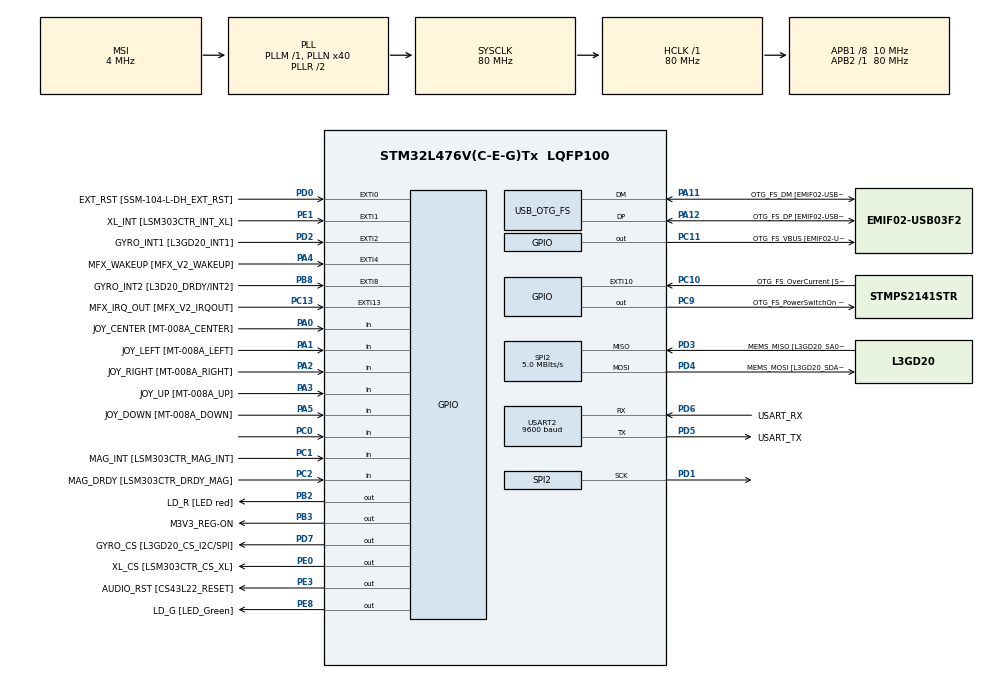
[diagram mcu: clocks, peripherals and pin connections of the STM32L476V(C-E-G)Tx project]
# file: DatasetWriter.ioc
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Mcu.Family=STM32L4
Mcu.Name=STM32L476V(C-E-G)Tx
Mcu.Package=LQFP100
NVIC.OTG_FS_IRQn=true\:0\:0\:false\:false\:true\:true\:true\:true
NVIC.PriorityGroup=NVIC_PRIORITYGROUP_4
PA0.GPIO_Label=JOY_CENTER [MT-008A_CENTER]
PA0.GPIO_Mode=GPIO_MODE_INPUT
PA0.GPIO_PuPd=GPIO_PULLDOWN
PA0.Signal=GPIO_Input
PA1.GPIO_Label=JOY_LEFT [MT-008A_LEFT]
PA1.GPIO_Mode=GPIO_MODE_INPUT
PA1.GPIO_PuPd=GPIO_PULLDOWN
PA1.Signal=GPIO_Input
PA10.Signal=LCD_COM2
PA11.GPIO_Label=OTG_FS_DM [EMIF02-USB03F2_D-out]
PA11.GPIO_Mode=GPIO_MODE_AF_PP
PA11.GPIO_PuPd=GPIO_NOPULL
PA11.GPIO_Speed=GPIO_SPEED_FREQ_VERY_HIGH
PA11.Mode=Host_Only
PA11.Signal=USB_OTG_FS_DM
PA12.GPIO_Label=OTG_FS_DP [EMIF02-USB03F2_D+out]
PA12.GPIO_Mode=GPIO_MODE_AF_PP
PA12.GPIO_PuPd=GPIO_NOPULL
PA12.GPIO_Speed=GPIO_SPEED_FREQ_VERY_HIGH
PA12.Mode=Host_Only
PA12.Signal=USB_OTG_FS_DP
PA13\ (JTMS-SWDIO).GPIO_Label=SWDIO
PA13\ (JTMS-SWDIO).Mode=Serial_Wire
PA13\ (JTMS-SWDIO).Signal=SYS_JTMS-SWDIO
PA14\ (JTCK-SWCLK).GPIO_Label=SWCLK
PA14\ (JTCK-SWCLK).Mode=Serial_Wire
PA14\ (JTCK-SWCLK).Signal=SYS_JTCK-SWCLK
PA15\ (JTDI).Signal=LCD_SEG17
PA2.GPIO_Label=JOY_RIGHT [MT-008A_RIGHT]
PA2.GPIO_Mode=GPIO_MODE_INPUT
PA2.GPIO_PuPd=GPIO_PULLDOWN
PA2.Signal=GPIO_Input
PA3.GPIO_Label=JOY_UP [MT-008A_UP]
PA3.GPIO_Mode=GPIO_MODE_INPUT
PA3.GPIO_PuPd=GPIO_PULLDOWN
PA3.Signal=GPIO_Input
PA4.GPIO_Label=MFX_WAKEUP [MFX_V2_WAKEUP]
PA4.GPIO_ModeDefaultEXTI=GPIO_MODE_EVT_RISING
PA4.GPIO_PuPd=GPIO_NOPULL
PA4.Signal=GPXTI4
PA5.GPIO_Label=JOY_DOWN [MT-008A_DOWN]
PA5.GPIO_Mode=GPIO_MODE_INPUT
PA5.GPIO_PuPd=GPIO_PULLDOWN
PA5.Signal=GPIO_Input
PA6.Signal=LCD_SEG3
PA7.Signal=LCD_SEG4
PA8.GPIO_Mode=GPIO_MODE_AF_PP
PA8.GPIO_PuPd=GPIO_NOPULL
PA8.GPIO_Speed=GPIO_SPEED_FREQ_LOW
PA8.Signal=LCD_COM0
PA9.GPIO_Mode=GPIO_MODE_AF_PP
PA9.GPIO_PuPd=GPIO_NOPULL
PA9.GPIO_Speed=GPIO_SPEED_FREQ_LOW
PA9.Signal=LCD_COM1
PB0.Signal=LCD_SEG5
PB1.Signal=LCD_SEG6
PB10.Signal=LCD_SEG10
PB11.Signal=LCD_SEG11
PB12.Signal=LCD_SEG12
PB13.Signal=LCD_SEG13
PB14.Signal=LCD_SEG14
PB15.Signal=LCD_SEG15
PB2.GPIO_Label=LD_R [LED red]
PB2.GPIO_ModeDefaultOutputPP=GPIO_MODE_OUTPUT_PP
PB2.GPIO_PuPd=GPIO_PULLUP
PB2.GPIO_Speed=GPIO_SPEED_FREQ_VERY_HIGH
PB2.Signal=GPIO_Output
PB3\ (JTDO-TRACESWO).GPIO_Label=M3V3_REG-ON
PB3\ (JTDO-TRACESWO).GPIO_ModeDefaultOutputPP=GPIO_MODE_OUTPUT_PP
PB3\ (JTDO-TRACESWO).GPIO_PuPd=GPIO_NOPULL
PB3\ (JTDO-TRACESWO).GPIO_Speed=GPIO_SPEED_FREQ_LOW
PB3\ (JTDO-TRACESWO).Signal=GPIO_Output
PB4\ (NJTRST).Signal=LCD_SEG8
PB5.Signal=LCD_SEG9
PB6.GPIO_FM6=__NULL
PB6.GPIO_Label=I2C1_SCL [SSM-104-L-DH_SCL]
PB6.GPIO_Mode=GPIO_MODE_AF_OD
PB6.GPIO_Pu=GPIO_PULLUP
PB6.GPIO_Speed=GPIO_SPEED_FREQ_VERY_HIGH
PB6.Signal=I2C1_SCL
PB7.Signal=LCD_SEG21
PB8.GPIO_Label=GYRO_INT2 [L3D20_DRDY/INT2]
PB8.GPIO_ModeDefaultEXTI=GPIO_MODE_EVT_RISING
PB8.GPIO_PuPd=GPIO_NOPULL
PB8.Signal=GPXTI8
PB9.Signal=LCD_COM3
PC0.Signal=GPIO_Input
PC1.GPIO_Label=MAG_INT [LSM303CTR_MAG_INT]
PC1.GPIO_Mode=GPIO_MODE_INPUT
PC1.GPIO_PuPd=GPIO_NOPULL
PC1.Signal=GPIO_Input
PC10.GPIO_Label=OTG_FS_OverCurrent [STMPS2141STR_FAULT]
PC10.GPIO_ModeDefaultEXTI=GPIO_MODE_EVT_RISING
PC10.GPIO_PuPd=GPIO_NOPULL
PC10.Signal=GPXTI10
PC11.GPIO_Label=OTG_FS_VBUS [EMIF02-USB03F2_Vbus]
PC11.GPIO_ModeDefaultOutputPP=GPIO_MODE_OUTPUT_PP
PC11.GPIO_PuPd=GPIO_NOPULL
PC11.GPIO_Speed=GPIO_SPEED_FREQ_LOW
PC11.Signal=GPIO_Output
PC12.Signal=LCD_SEG30
PC13.GPIO_Label=MFX_IRQ_OUT [MFX_V2_IRQOUT]
PC13.GPIO_ModeDefaultEXTI=GPIO_MODE_EVT_RISING
PC13.GPIO_PuPd=GPIO_NOPULL
PC13.Signal=GPXTI13
PC14-OSC32_IN\ (PC14).Mode=LSE-External-Oscillator
PC14-OSC32_IN\ (PC14).Signal=RCC_OSC32_IN
PC15-OSC32_OUT\ (PC15).Mode=LSE-External-Oscillator
PC15-OSC32_OUT\ (PC15).Signal=RCC_OSC32_OUT
PC2.GPIO_Label=MAG_DRDY [LSM303CTR_DRDY_MAG]
PC2.GPIO_Mode=GPIO_MODE_INPUT
PC2.GPIO_PuPd=GPIO_NOPULL
PC2.Signal=GPIO_Input
PC3.GPIO_Mode=GPIO_MODE_AF_PP
PC3.GPIO_PuPd=GPIO_NOPULL
PC3.GPIO_Speed=GPIO_SPEED_FREQ_LOW
PC3.Signal=LCD_VLCD
PC4.Signal=LCD_SEG22
PC5.Signal=LCD_SEG23
PC6.Signal=LCD_SEG24
PC7.Signal=LCD_SEG25
PC8.Signal=LCD_SEG26
PC9.GPIO_Label=OTG_FS_PowerSwitchOn [STMPS2141STR_EN]
PC9.GPIO_ModeDefaultOutputPP=GPIO_MODE_OUTPUT_PP
PC9.GPIO_PuPd=GPIO_NOPULL
PC9.GPIO_Speed=GPIO_SPEED_FREQ_LOW
PC9.PinState=GPIO_PIN_SET
PC9.Signal=GPIO_Output
PD0.GPIO_Label=EXT_RST [SSM-104-L-DH_EXT_RST]
PD0.GPIO_ModeDefaultEXTI=GPIO_MODE_EVT_RISING
PD0.GPIO_PuPd=GPIO_NOPULL
PD0.Signal=GPXTI0
PD1.Mode=Full_Duplex_Master
PD1.Signal=SPI2_SCK
PD11.Signal=LCD_SEG31
PD12.Signal=LCD_SEG32
PD13.Signal=LCD_SEG33
PD14.Signal=LCD_SEG34
PD15.Signal=LCD_SEG35
PD2.GPIO_Label=GYRO_INT1 [L3GD20_INT1]
PD2.GPIO_ModeDefaultEXTI=GPIO_MODE_EVT_RISING
PD2.GPIO_PuPd=GPIO_NOPULL
PD2.Signal=GPXTI2
PD3.GPIO_Label=MEMS_MISO [L3GD20_SA0/SDO]
PD3.GPIO_Mode=GPIO_MODE_AF_PP
PD3.GPIO_PuPd=GPIO_NOPULL
PD3.GPIO_Speed=GPIO_SPEED_FREQ_VERY_HIGH
PD3.Mode=Full_Duplex_Master
PD3.Signal=SPI2_MISO
PD4.GPIO_Label=MEMS_MOSI [L3GD20_SDA/SDI/SDO]
PD4.GPIO_Mode=GPIO_MODE_AF_PP
PD4.GPIO_PuPd=GPIO_NOPULL
PD4.GPIO_Speed=GPIO_SPEED_FREQ_VERY_HIGH
PD4.Mode=Full_Duplex_Master
PD4.Signal=SPI2_MOSI
PD5.GPIO_Label=USART_TX
PD5.GPIO_Mode=GPIO_MODE_AF_PP
PD5.GPIO_PuPd=GPIO_PULLUP
PD5.GPIO_Speed=GPIO_SPEED_FREQ_VERY_HIGH
PD5.Mode=Asynchronous
PD5.Signal=USART2_TX
PD6.GPIO_Label=USART_RX
PD6.GPIO_Mode=GPIO_MODE_AF_PP
PD6.GPIO_PuPd=GPIO_PULLUP
PD6.GPIO_Speed=GPIO_SPEED_FREQ_VERY_HIGH
PD6.Mode=Asynchronous
PD6.Signal=USART2_RX
PD7.GPIO_Label=GYRO_CS [L3GD20_CS_I2C/SPI]
PD7.GPIO_ModeDefaultOutputPP=GPIO_MODE_OUTPUT_PP
PD7.GPIO_PuPd=GPIO_NOPULL
PD7.GPIO_Speed=GPIO_SPEED_FREQ_VERY_HIGH
PD7.Signal=GPIO_Output
PD8.Signal=LCD_SEG28
PD9.Signal=LCD_SEG29
PE0.GPIO_Label=XL_CS [LSM303CTR_CS_XL]
PE0.GPIO_ModeDefaultOutputPP=GPIO_MODE_OUTPUT_PP
PE0.GPIO_PuPd=GPIO_NOPULL
PE0.GPIO_Speed=GPIO_SPEED_FREQ_LOW
PE0.Signal=GPIO_Output
PE1.GPIO_Label=XL_INT [LSM303CTR_INT_XL]
PE1.GPIO_ModeDefaultEXTI=GPIO_MODE_EVT_RISING
PE1.GPIO_PuPd=GPIO_NOPULL
PE1.Signal=GPXTI1
PE10.GPIO_Mode=GPIO_MODE_AF_PP
PE10.GPIO_PuPd=GPIO_NOPULL
PE10.GPIO_Speed=GPIO_SPEED_FREQ_VERY_HIGH
PE10.Signal=QUADSPI_CLK
PE11.GPIO_Mode=GPIO_MODE_AF_PP
PE11.GPIO_PuPd=GPIO_NOPULL
PE11.GPIO_Speed=GPIO_SPEED_FREQ_VERY_HIGH
PE11.Signal=QUADSPI_NCS
PE12.GPIO_Mode=GPIO_MODE_AF_PP
PE12.GPIO_PuPd=GPIO_NOPULL
PE12.GPIO_Speed=GPIO_SPEED_FREQ_VERY_HIGH
PE12.Signal=QUADSPI_BK1_IO0
PE13.GPIO_Mode=GPIO_MODE_AF_PP
PE13.GPIO_PuPd=GPIO_NOPULL
PE13.GPIO_Speed=GPIO_SPEED_FREQ_VERY_HIGH
PE13.Signal=QUADSPI_BK1_IO1
PE14.GPIO_Label=QSPI_D2 [N25Q128A13EF840E_DQ2]
PE14.GPIO_Mode=GPIO_MODE_AF_PP
PE14.GPIO_PuPd=GPIO_NOPULL
PE14.GPIO_Speed=GPIO_SPEED_FREQ_VERY_HIGH
PE14.Signal=QUADSPI_BK1_IO2
PE15.GPIO_Label=QSPI_D3 [N25Q128A13EF840E_DQ3]
PE15.GPIO_Mode=GPIO_MODE_AF_PP
PE15.GPIO_PuPd=GPIO_NOPULL
PE15.GPIO_Speed=GPIO_SPEED_FREQ_VERY_HIGH
PE15.Signal=QUADSPI_BK1_IO3
PE2.Signal=LCD_SEG38
PE3.GPIO_Label=AUDIO_RST [CS43L22_RESET]
PE3.GPIO_ModeDefaultOutputPP=GPIO_MODE_OUTPUT_PP
PE3.GPIO_PuPd=GPIO_NOPULL
PE3.GPIO_Speed=GPIO_SPEED_FREQ_HIGH
PE3.Signal=GPIO_Output
PE4.GPIO_Label=SAI1_FS [CS43L22_LRCK]
PE4.GPIO_Mode=GPIO_MODE_AF_PP
PE4.GPIO_PuPd=GPIO_NOPULL
PE4.GPIO_Speed=GPIO_SPEED_FREQ_VERY_HIGH
PE4.Signal=SAI1_FS_A
PE5.GPIO_Label=SAI1_SCK [CS43L22_SCLK]
PE5.GPIO_Mode=GPIO_MODE_AF_PP
PE5.GPIO_PuPd=GPIO_NOPULL
PE5.GPIO_Speed=GPIO_SPEED_FREQ_VERY_HIGH
PE5.Signal=SAI1_SCK_A
PE6.GPIO_Label=SAI1_SD [CS43L22_SDIN]
PE6.GPIO_Mode=GPIO_MODE_AF_PP
PE6.GPIO_PuPd=GPIO_NOPULL
PE6.GPIO_Speed=GPIO_SPEED_FREQ_VERY_HIGH
PE6.Signal=SAI1_SD_A
PE7.GPIO_Label=AUDIO_DIN [MP34DT01_DOUT]
PE7.GPIO_Mode=GPIO_MODE_AF_PP
PE7.GPIO_PuPd=GPIO_NOPULL
PE7.GPIO_Speed=GPIO_SPEED_FREQ_VERY_HIGH
PE7.Signal=SAI1_SD_B
PE8.GPIO_Label=LD_G [LED_Green]
PE8.GPIO_ModeDefaultOutputPP=GPIO_MODE_OUTPUT_PP
PE8.GPIO_PuPd=GPIO_PULLUP
PE8.GPIO_Speed=GPIO_SPEED_FREQ_VERY_HIGH
PE8.Signal=GPIO_Output
PE9.GPIO_Label=AUDIO_CLK [MP34DT01_CLK]
PE9.GPIO_Mode=GPIO_MODE_AF_PP
PE9.GPIO_PuPd=GPIO_NOPULL
PE9.GPIO_Speed=GPIO_SPEED_FREQ_LOW
PE9.Signal=SAI1_FS_B
PH0-OSC_IN\ (PH0).Mode=HSE-External-Oscillator
PH0-OSC_IN\ (PH0).Signal=RCC_OSC_IN
PH1-OSC_OUT\ (PH1).Mode=HSE-External-Oscillator
PH1-OSC_OUT\ (PH1).Signal=RCC_OSC_OUT
ProjectManager.HeapSize=0x800
ProjectManager.StackSize=0x1000
ProjectManager.TargetToolchain=STM32CubeIDE
RCC.ADCFreq_Value=48000000
RCC.AHBFreq_Value=80000000
RCC.APB1CLKDivider=RCC_HCLK_DIV8
RCC.APB1Freq_Value=10000000
RCC.APB1TimFreq_Value=20000000
RCC.APB2Freq_Value=80000000
RCC.APB2TimFreq_Value=80000000
RCC.CortexFreq_Value=80000000
RCC.HCLKFreq_Value=80000000
RCC.HSE_VALUE=8000000
RCC.HSI_VALUE=16000000
RCC.MSI_VALUE=4000000
RCC.PLLN=40
RCC.PLLSAI1N=24
RCC.PREFETCH_ENABLE=1
RCC.RTCClockSelection=RCC_RTCCLKSOURCE_LSE
RCC.SYSCLKFreq_VALUE=80000000
RCC.SYSCLKSource=RCC_SYSCLKSOURCE_PLLCLK
RCC.USART2CLockSelection=RCC_USART2CLKSOURCE_SYSCLK
RCC.USBFreq_Value=48000000
RCC.VCOOutputFreq_Value=160000000
SPI2.BaudRatePrescaler=SPI_BAUDRATEPRESCALER_2
SPI2.CalculateBaudRate=5.0 MBits/s
SPI2.Direction=SPI_DIRECTION_2LINES
SPI2.Mode=SPI_MODE_MASTER
SPI2.VirtualType=VM_MASTER
STMicroelectronics.X-CUBE-AI.7.1.0.ActivationBufferSizeList=44
STMicroelectronics.X-CUBE-AI.7.1.0.ActivationBuffers=pool0
STMicroelectronics.X-CUBE-AI.7.1.0.ActivationNames=pool0
STMicroelectronics.X-CUBE-AI.7.1.0.ActivationSizes=AI_NETWORK_DATA_ACTIVATION_1_SIZE
STMicroelectronics.X-CUBE-AI.7.1.0.HeapSize=0x800
STMicroelectronics.X-CUBE-AI.7.1.0.InternalRamActivationBufferMaxSize=AI_NETWORK_DATA_ACTIVATIONS_SIZE
STMicroelectronics.X-CUBE-AI.7.1.0.LatestDirectoryUsed-5fd90cdd253ec951de578391504b666c0e46cd835d5aafb4f89f38390d5d8160=C\:\\Archivio\\Lavoro\\MBDA\\Hums\\tinyml-example-anomaly-detection-master\\autoencoder\\models
STMicroelectronics.X-CUBE-AI.7.1.0.MaximumNumberOfInputLayer=1
STMicroelectronics.X-CUBE-AI.7.1.0.MaximumNumberOfOutputLayer=1
STMicroelectronics.X-CUBE-AI.7.1.0.MaximumSizeOfInputLayer=AI_NETWORK_IN_1_SIZE_BYTES
STMicroelectronics.X-CUBE-AI.7.1.0.MaximumSizeOfOutputLayer=AI_NETWORK_OUT_1_SIZE_BYTES
STMicroelectronics.X-CUBE-AI.7.1.0.ModelActualCompression-5fd90cdd253ec951de578391504b666c0e46cd835d5aafb4f89f38390d5d8160=0.0
STMicroelectronics.X-CUBE-AI.7.1.0.ModelCompression-5fd90cdd253ec951de578391504b666c0e46cd835d5aafb4f89f38390d5d8160=1
STMicroelectronics.X-CUBE-AI.7.1.0.ModelFlashOccupation-5fd90cdd253ec951de578391504b666c0e46cd835d5aafb4f89f38390d5d8160=68
STMicroelectronics.X-CUBE-AI.7.1.0.ModelHashList=5fd90cdd253ec951de578391504b666c0e46cd835d5aafb4f89f38390d5d8160
STMicroelectronics.X-CUBE-AI.7.1.0.ModelKind-5fd90cdd253ec951de578391504b666c0e46cd835d5aafb4f89f38390d5d8160=TFLITE
STMicroelectronics.X-CUBE-AI.7.1.0.ModelMacc-5fd90cdd253ec951de578391504b666c0e46cd835d5aafb4f89f38390d5d8160=22
STMicroelectronics.X-CUBE-AI.7.1.0.ModelName-5fd90cdd253ec951de578391504b666c0e46cd835d5aafb4f89f38390d5d8160=network
STMicroelectronics.X-CUBE-AI.7.1.0.ModelNameList=network
STMicroelectronics.X-CUBE-AI.7.1.0.ModelRamOccupation-5fd90cdd253ec951de578391504b666c0e46cd835d5aafb4f89f38390d5d8160=44
STMicroelectronics.X-CUBE-AI.7.1.0.ModelStructureFile-5fd90cdd253ec951de578391504b666c0e46cd835d5aafb4f89f38390d5d8160=C\:\\Archivio\\Lavoro\\MBDA\\Hums\\tinyml-example-anomaly-detection-master\\autoencoder\\models\\my_model.tflite
STMicroelectronics.X-CUBE-AI.7.1.0.ModelType-5fd90cdd253ec951de578391504b666c0e46cd835d5aafb4f89f38390d5d8160=STM32Cube.AI runtime
STMicroelectronics.X-CUBE-AI.7.1.0.ReadyForCodeGeneration=false
STMicroelectronics.X-CUBE-AI.7.1.0.StackSize=0x1000
STMicroelectronics.X-CUBE-AI.7.1.0.WorkingBufferStartAddrList=0xFFFFFFFF
TIM16.Period=65535
TIM16.Prescaler=80
USART2.BaudRate=9600
USART2.VirtualMode-Asynchronous=VM_ASYNC
USB_HOST.BSP.number=1
USB_HOST.USBH_HandleTypeDef=hUsbHostFS
USB_HOST.VirtualModeFS=Cdc
USB_HOST0.BSP.STBoard=false
USB_HOST0.BSP.api=Unknown
USB_HOST0.BSP.instance=PC9
USB_HOST0.BSP.ip=GPIO
USB_HOST0.BSP.mode=Output
USB_HOST0.BSP.name=Drive_VBUS_FS
USB_HOST0.BSP.solution=PC9
USB_OTG_FS.VirtualMode=Host_Only
USB_OTG_FS.phy_itface=HCD_PHY_EMBEDDED
VP_CRC_VS_CRC.Mode=CRC_Activate
VP_TIM16_VS_ClockSourceINT.Mode=Enable_Timer
VP_USB_HOST_VS_USB_HOST_CDC_FS.Mode=CDC_FS
board=STM32L476G-DISCO

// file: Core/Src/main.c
/* USER CODE BEGIN Header */
/**
 ******************************************************************************
 * @file           : main.c
 * @brief          : Main program body
 ******************************************************************************
 * @attention
 *
 * Copyright (c) 2022 STMicroelectronics.
 * All rights reserved.
 *
 * This software is licensed under terms that can be found in the LICENSE file
 * in the root directory of this software component.
 * If no LICENSE file comes with this software, it is provided AS-IS.
 *
 ******************************************************************************
 */
/* USER CODE END Header */
#include "main.h"
#include "usb_host.h"

/* USER CODE BEGIN Includes */
#include <stdio.h>
#include "../../../Drivers/BSP/Components/lsm303c/lsm303c.h"
/* USER CODE END Includes */

CRC_HandleTypeDef hcrc;

SPI_HandleTypeDef hspi2;

TIM_HandleTypeDef htim16;

UART_HandleTypeDef huart2;

void SystemClock_Config(void);
static void MX_GPIO_Init(void);
static void MX_SPI2_Init(void);
static void MX_USART2_UART_Init(void);
static void MX_CRC_Init(void);
static void MX_TIM16_Init(void);
void MX_USB_HOST_Process(void);

/* USER CODE BEGIN 0 */
typedef enum {
	COMPASS_OK = 0, COMPASS_ERROR = 1, COMPASS_TIMEOUT = 2
} COMPASS_StatusTypeDef;

extern void BSP_COMPASS_AccGetXYZ(int16_t *pDataXYZ);
extern COMPASS_StatusTypeDef BSP_COMPASS_Init(void);
/* USER CODE END 0 */

int main(void)
{
  /* USER CODE BEGIN 1 */

	// Settings
	int NUM_AXES = 3;           // Number of axes on accelerometer
	int MAX_MEASUREMENTS = 256; // Number of samples to keep in each axis
	int SAMPLE_RATE = 200;      // How fast to collect measurements (Hz)

	float sample[MAX_MEASUREMENTS][NUM_AXES];

	char buf[50];
	int buf_len = 0;
	uint32_t timestamp;
	int16_t pDataXYZ[3];
  /* USER CODE END 1 */

  /* MCU Configuration--------------------------------------------------------*/

  /* Reset of all peripherals, Initializes the Flash interface and the Systick. */
  HAL_Init();

  /* Configure the system clock */
  SystemClock_Config();

  /* Initialize all configured peripherals */
  MX_GPIO_Init();
  MX_SPI2_Init();
  MX_USART2_UART_Init();
  MX_USB_HOST_Init();
  MX_CRC_Init();
  MX_TIM16_Init();
  /* USER CODE BEGIN 2 */

	BSP_COMPASS_Init();

	// Welcome
	timestamp = htim16.Instance->CNT;

	HAL_GPIO_WritePin(GPIOB, GPIO_PIN_2, GPIO_PIN_SET);
	HAL_Delay(500);
	HAL_GPIO_WritePin(GPIOB, GPIO_PIN_2, GPIO_PIN_RESET);

	HAL_TIM_Base_Start(&htim16);
	buf_len = sprintf(buf, "\r\n\r\nSTM write dataset v1.0\r\n");
	HAL_UART_Transmit(&huart2, (uint8_t*) buf, buf_len, 100);

  /* USER CODE END 2 */

  /* Infinite loop */
  /* USER CODE BEGIN WHILE */
	while (1) {
		HAL_GPIO_WritePin(GPIOE, GPIO_PIN_8, GPIO_PIN_SET);
		HAL_Delay(250);
		HAL_GPIO_WritePin(GPIOE, GPIO_PIN_8, GPIO_PIN_RESET);
		HAL_Delay(250);

		// Take a given time worth of measurements
		int i = 0;
		while (i < MAX_MEASUREMENTS) {
			if (htim16.Instance->CNT >= timestamp + (1000 / SAMPLE_RATE)) {

				// Update timestamps to maintain sample rate
				timestamp = htim16.Instance->CNT;

				// Take sample measurement
				BSP_COMPASS_AccGetXYZ(pDataXYZ);
				sample[i][0] = (double) pDataXYZ[0] * 0.000061;
				sample[i][1] = (double) pDataXYZ[1] * 0.000061;
				sample[i][2] = (double) pDataXYZ[2] * 0.000061;

				buf_len = sprintf(buf, "%f; %f; %f;\r\n", sample[i][0],
						sample[i][1], sample[i][2]);
				HAL_UART_Transmit(&huart2, (uint8_t*) buf, buf_len, 100);

				// Update sample counter
				i++;
			}
		}

		buf_len = sprintf(buf, "End trasmission");
		HAL_UART_Transmit(&huart2, (uint8_t*) buf, buf_len, 100);

		while (1) {
			HAL_GPIO_WritePin(GPIOE, GPIO_PIN_8, GPIO_PIN_SET);
			HAL_GPIO_WritePin(GPIOB, GPIO_PIN_2, GPIO_PIN_RESET);
			HAL_Delay(250);
			HAL_GPIO_WritePin(GPIOB, GPIO_PIN_2, GPIO_PIN_SET);
			HAL_GPIO_WritePin(GPIOE, GPIO_PIN_8, GPIO_PIN_RESET);
			HAL_Delay(250);
		}

    /* USER CODE END WHILE */
    MX_USB_HOST_Process();

	}
}

void SystemClock_Config(void)
{
  RCC_OscInitTypeDef RCC_OscInitStruct = {0};
  RCC_ClkInitTypeDef RCC_ClkInitStruct = {0};

  /** Configure the main internal regulator output voltage
  */
  if (HAL_PWREx_ControlVoltageScaling(PWR_REGULATOR_VOLTAGE_SCALE1) != HAL_OK)
  {
    Error_Handler();
  }

  /** Configure LSE Drive Capability
  */
  HAL_PWR_EnableBkUpAccess();
  __HAL_RCC_LSEDRIVE_CONFIG(RCC_LSEDRIVE_LOW);

  /** Initializes the RCC Oscillators according to the specified parameters
  * in the RCC_OscInitTypeDef structure.
  */
  RCC_OscInitStruct.OscillatorType = RCC_OSCILLATORTYPE_LSE|RCC_OSCILLATORTYPE_MSI;
  RCC_OscInitStruct.LSEState = RCC_LSE_ON;
  RCC_OscInitStruct.MSIState = RCC_MSI_ON;
  RCC_OscInitStruct.MSICalibrationValue = 0;
  RCC_OscInitStruct.MSIClockRange = RCC_MSIRANGE_6;
  RCC_OscInitStruct.PLL.PLLState = RCC_PLL_ON;
  RCC_OscInitStruct.PLL.PLLSource = RCC_PLLSOURCE_MSI;
  RCC_OscInitStruct.PLL.PLLM = 1;
  RCC_OscInitStruct.PLL.PLLN = 40;
  RCC_OscInitStruct.PLL.PLLP = RCC_PLLP_DIV7;
  RCC_OscInitStruct.PLL.PLLQ = RCC_PLLQ_DIV2;
  RCC_OscInitStruct.PLL.PLLR = RCC_PLLR_DIV2;
  if (HAL_RCC_OscConfig(&RCC_OscInitStruct) != HAL_OK)
  {
    Error_Handler();
  }

  /** Initializes the CPU, AHB and APB buses clocks
  */
  RCC_ClkInitStruct.ClockType = RCC_CLOCKTYPE_HCLK|RCC_CLOCKTYPE_SYSCLK
                              |RCC_CLOCKTYPE_PCLK1|RCC_CLOCKTYPE_PCLK2;
  RCC_ClkInitStruct.SYSCLKSource = RCC_SYSCLKSOURCE_PLLCLK;
  RCC_ClkInitStruct.AHBCLKDivider = RCC_SYSCLK_DIV1;
  RCC_ClkInitStruct.APB1CLKDivider = RCC_HCLK_DIV8;
  RCC_ClkInitStruct.APB2CLKDivider = RCC_HCLK_DIV1;

  if (HAL_RCC_ClockConfig(&RCC_ClkInitStruct, FLASH_LATENCY_4) != HAL_OK)
  {
    Error_Handler();
  }

  /** Enable MSI Auto calibration
  */
  HAL_RCCEx_EnableMSIPLLMode();
}

static void MX_CRC_Init(void)
{

  hcrc.Instance = CRC;
  hcrc.Init.DefaultPolynomialUse = DEFAULT_POLYNOMIAL_ENABLE;
  hcrc.Init.DefaultInitValueUse = DEFAULT_INIT_VALUE_ENABLE;
  hcrc.Init.InputDataInversionMode = CRC_INPUTDATA_INVERSION_NONE;
  hcrc.Init.OutputDataInversionMode = CRC_OUTPUTDATA_INVERSION_DISABLE;
  hcrc.InputDataFormat = CRC_INPUTDATA_FORMAT_BYTES;
  if (HAL_CRC_Init(&hcrc) != HAL_OK)
  {
    Error_Handler();
  }

}

static void MX_SPI2_Init(void)
{

  /* SPI2 parameter configuration*/
  hspi2.Instance = SPI2;
  hspi2.Init.Mode = SPI_MODE_MASTER;
  hspi2.Init.Direction = SPI_DIRECTION_2LINES;
  hspi2.Init.DataSize = SPI_DATASIZE_4BIT;
  hspi2.Init.CLKPolarity = SPI_POLARITY_LOW;
  hspi2.Init.CLKPhase = SPI_PHASE_1EDGE;
  hspi2.Init.NSS = SPI_NSS_SOFT;
  hspi2.Init.BaudRatePrescaler = SPI_BAUDRATEPRESCALER_2;
  hspi2.Init.FirstBit = SPI_FIRSTBIT_MSB;
  hspi2.Init.TIMode = SPI_TIMODE_DISABLE;
  hspi2.Init.CRCCalculation = SPI_CRCCALCULATION_DISABLE;
  hspi2.Init.CRCPolynomial = 7;
  hspi2.Init.CRCLength = SPI_CRC_LENGTH_DATASIZE;
  hspi2.Init.NSSPMode = SPI_NSS_PULSE_ENABLE;
  if (HAL_SPI_Init(&hspi2) != HAL_OK)
  {
    Error_Handler();
  }

}

static void MX_TIM16_Init(void)
{

  htim16.Instance = TIM16;
  htim16.Init.Prescaler = 80;
  htim16.Init.CounterMode = TIM_COUNTERMODE_UP;
  htim16.Init.Period = 65535;
  htim16.Init.ClockDivision = TIM_CLOCKDIVISION_DIV1;
  htim16.Init.RepetitionCounter = 0;
  htim16.Init.AutoReloadPreload = TIM_AUTORELOAD_PRELOAD_DISABLE;
  if (HAL_TIM_Base_Init(&htim16) != HAL_OK)
  {
    Error_Handler();
  }

}

static void MX_USART2_UART_Init(void)
{

  huart2.Instance = USART2;
  huart2.Init.BaudRate = 9600;
  huart2.Init.WordLength = UART_WORDLENGTH_8B;
  huart2.Init.StopBits = UART_STOPBITS_1;
  huart2.Init.Parity = UART_PARITY_NONE;
  huart2.Init.Mode = UART_MODE_TX_RX;
  huart2.Init.HwFlowCtl = UART_HWCONTROL_NONE;
  huart2.Init.OverSampling = UART_OVERSAMPLING_16;
  huart2.Init.OneBitSampling = UART_ONE_BIT_SAMPLE_DISABLE;
  huart2.AdvancedInit.AdvFeatureInit = UART_ADVFEATURE_NO_INIT;
  if (HAL_UART_Init(&huart2) != HAL_OK)
  {
    Error_Handler();
  }

}

static void MX_GPIO_Init(void)
{
  GPIO_InitTypeDef GPIO_InitStruct = {0};

  /* GPIO Ports Clock Enable */
  __HAL_RCC_GPIOE_CLK_ENABLE();
  __HAL_RCC_GPIOC_CLK_ENABLE();
  __HAL_RCC_GPIOH_CLK_ENABLE();
  __HAL_RCC_GPIOA_CLK_ENABLE();
  __HAL_RCC_GPIOB_CLK_ENABLE();
  __HAL_RCC_GPIOD_CLK_ENABLE();

  /*Configure GPIO pin Output Level */
  HAL_GPIO_WritePin(GPIOE, AUDIO_RST_Pin|LD_G_Pin|XL_CS_Pin, GPIO_PIN_RESET);

  /*Configure GPIO pin Output Level */
  HAL_GPIO_WritePin(GPIOB, LD_R_Pin|M3V3_REG_ON_Pin, GPIO_PIN_RESET);

  /*Configure GPIO pin Output Level */
  HAL_GPIO_WritePin(OTG_FS_PowerSwitchOn_GPIO_Port, OTG_FS_PowerSwitchOn_Pin, GPIO_PIN_SET);

  /*Configure GPIO pin Output Level */
  HAL_GPIO_WritePin(OTG_FS_VBUS_GPIO_Port, OTG_FS_VBUS_Pin, GPIO_PIN_RESET);

  /*Configure GPIO pin Output Level */
  HAL_GPIO_WritePin(GYRO_CS_GPIO_Port, GYRO_CS_Pin, GPIO_PIN_RESET);

  /*Configure GPIO pin : PE2 */
  GPIO_InitStruct.Pin = GPIO_PIN_2;
  GPIO_InitStruct.Mode = GPIO_MODE_AF_PP;
  GPIO_InitStruct.Pull = GPIO_NOPULL;
  GPIO_InitStruct.Speed = GPIO_SPEED_FREQ_LOW;
  GPIO_InitStruct.Alternate = GPIO_AF11_LCD;
  HAL_GPIO_Init(GPIOE, &GPIO_InitStruct);

  /*Configure GPIO pin : AUDIO_RST_Pin */
  GPIO_InitStruct.Pin = AUDIO_RST_Pin;
  GPIO_InitStruct.Mode = GPIO_MODE_OUTPUT_PP;
  GPIO_InitStruct.Pull = GPIO_NOPULL;
  GPIO_InitStruct.Speed = GPIO_SPEED_FREQ_HIGH;
  HAL_GPIO_Init(AUDIO_RST_GPIO_Port, &GPIO_InitStruct);

  /*Configure GPIO pins : SAI1_FS_Pin SAI1_SCK_Pin SAI1_SD_Pin AUDIO_DIN_Pin */
  GPIO_InitStruct.Pin = SAI1_FS_Pin|SAI1_SCK_Pin|SAI1_SD_Pin|AUDIO_DIN_Pin;
  GPIO_InitStruct.Mode = GPIO_MODE_AF_PP;
  GPIO_InitStruct.Pull = GPIO_NOPULL;
  GPIO_InitStruct.Speed = GPIO_SPEED_FREQ_VERY_HIGH;
  GPIO_InitStruct.Alternate = GPIO_AF13_SAI1;
  HAL_GPIO_Init(GPIOE, &GPIO_InitStruct);

  /*Configure GPIO pins : MFX_IRQ_OUT_Pin OTG_FS_OverCurrent_Pin */
  GPIO_InitStruct.Pin = MFX_IRQ_OUT_Pin|OTG_FS_OverCurrent_Pin;
  GPIO_InitStruct.Mode = GPIO_MODE_EVT_RISING;
  GPIO_InitStruct.Pull = GPIO_NOPULL;
  HAL_GPIO_Init(GPIOC, &GPIO_InitStruct);

  /*Configure GPIO pins : PC0 MAG_INT_Pin MAG_DRDY_Pin */
  GPIO_InitStruct.Pin = GPIO_PIN_0|MAG_INT_Pin|MAG_DRDY_Pin;
  GPIO_InitStruct.Mode = GPIO_MODE_INPUT;
  GPIO_InitStruct.Pull = GPIO_NOPULL;
  HAL_GPIO_Init(GPIOC, &GPIO_InitStruct);

  /*Configure GPIO pins : PC3 PC4 PC5 PC6
                           PC7 PC8 PC12 */
  GPIO_InitStruct.Pin = GPIO_PIN_3|GPIO_PIN_4|GPIO_PIN_5|GPIO_PIN_6
                          |GPIO_PIN_7|GPIO_PIN_8|GPIO_PIN_12;
  GPIO_InitStruct.Mode = GPIO_MODE_AF_PP;
  GPIO_InitStruct.Pull = GPIO_NOPULL;
  GPIO_InitStruct.Speed = GPIO_SPEED_FREQ_LOW;
  GPIO_InitStruct.Alternate = GPIO_AF11_LCD;
  HAL_GPIO_Init(GPIOC, &GPIO_InitStruct);

  /*Configure GPIO pins : JOY_CENTER_Pin JOY_LEFT_Pin JOY_RIGHT_Pin JOY_UP_Pin
                           JOY_DOWN_Pin */
  GPIO_InitStruct.Pin = JOY_CENTER_Pin|JOY_LEFT_Pin|JOY_RIGHT_Pin|JOY_UP_Pin
                          |JOY_DOWN_Pin;
  GPIO_InitStruct.Mode = GPIO_MODE_INPUT;
  GPIO_InitStruct.Pull = GPIO_PULLDOWN;
  HAL_GPIO_Init(GPIOA, &GPIO_InitStruct);

  /*Configure GPIO pin : MFX_WAKEUP_Pin */
  GPIO_InitStruct.Pin = MFX_WAKEUP_Pin;
  GPIO_InitStruct.Mode = GPIO_MODE_EVT_RISING;
  GPIO_InitStruct.Pull = GPIO_NOPULL;
  HAL_GPIO_Init(MFX_WAKEUP_GPIO_Port, &GPIO_InitStruct);

  /*Configure GPIO pins : PA6 PA7 PA8 PA9
                           PA10 PA15 */
  GPIO_InitStruct.Pin = GPIO_PIN_6|GPIO_PIN_7|GPIO_PIN_8|GPIO_PIN_9
                          |GPIO_PIN_10|GPIO_PIN_15;
  GPIO_InitStruct.Mode = GPIO_MODE_AF_PP;
  GPIO_InitStruct.Pull = GPIO_NOPULL;
  GPIO_InitStruct.Speed = GPIO_SPEED_FREQ_LOW;
  GPIO_InitStruct.Alternate = GPIO_AF11_LCD;
  HAL_GPIO_Init(GPIOA, &GPIO_InitStruct);

  /*Configure GPIO pins : PB0 PB1 PB10 PB11
                           PB12 PB13 PB14 PB15
                           PB4 PB5 PB7 PB9 */
  GPIO_InitStruct.Pin = GPIO_PIN_0|GPIO_PIN_1|GPIO_PIN_10|GPIO_PIN_11
                          |GPIO_PIN_12|GPIO_PIN_13|GPIO_PIN_14|GPIO_PIN_15
                          |GPIO_PIN_4|GPIO_PIN_5|GPIO_PIN_7|GPIO_PIN_9;
  GPIO_InitStruct.Mode = GPIO_MODE_AF_PP;
  GPIO_InitStruct.Pull = GPIO_NOPULL;
  GPIO_InitStruct.Speed = GPIO_SPEED_FREQ_LOW;
  GPIO_InitStruct.Alternate = GPIO_AF11_LCD;
  HAL_GPIO_Init(GPIOB, &GPIO_InitStruct);

  /*Configure GPIO pin : LD_R_Pin */
  GPIO_InitStruct.Pin = LD_R_Pin;
  GPIO_InitStruct.Mode = GPIO_MODE_OUTPUT_PP;
  GPIO_InitStruct.Pull = GPIO_PULLUP;
  GPIO_InitStruct.Speed = GPIO_SPEED_FREQ_VERY_HIGH;
  HAL_GPIO_Init(LD_R_GPIO_Port, &GPIO_InitStruct);

  /*Configure GPIO pin : LD_G_Pin */
  GPIO_InitStruct.Pin = LD_G_Pin;
  GPIO_InitStruct.Mode = GPIO_MODE_OUTPUT_PP;
  GPIO_InitStruct.Pull = GPIO_PULLUP;
  GPIO_InitStruct.Speed = GPIO_SPEED_FREQ_VERY_HIGH;
  HAL_GPIO_Init(LD_G_GPIO_Port, &GPIO_InitStruct);

  /*Configure GPIO pin : AUDIO_CLK_Pin */
  GPIO_InitStruct.Pin = AUDIO_CLK_Pin;
  GPIO_InitStruct.Mode = GPIO_MODE_AF_PP;
  GPIO_InitStruct.Pull = GPIO_NOPULL;
  GPIO_InitStruct.Speed = GPIO_SPEED_FREQ_LOW;
  GPIO_InitStruct.Alternate = GPIO_AF13_SAI1;
  HAL_GPIO_Init(AUDIO_CLK_GPIO_Port, &GPIO_InitStruct);

  /*Configure GPIO pins : PE10 PE11 PE12 PE13
                           QSPI_D2_Pin QSPI_D3_Pin */
  GPIO_InitStruct.Pin = GPIO_PIN_10|GPIO_PIN_11|GPIO_PIN_12|GPIO_PIN_13
                          |QSPI_D2_Pin|QSPI_D3_Pin;
  GPIO_InitStruct.Mode = GPIO_MODE_AF_PP;
  GPIO_InitStruct.Pull = GPIO_NOPULL;
  GPIO_InitStruct.Speed = GPIO_SPEED_FREQ_VERY_HIGH;
  GPIO_InitStruct.Alternate = GPIO_AF10_QUADSPI;
  HAL_GPIO_Init(GPIOE, &GPIO_InitStruct);

  /*Configure GPIO pins : PD8 PD9 PD11 PD12
                           PD13 PD14 PD15 */
  GPIO_InitStruct.Pin = GPIO_PIN_8|GPIO_PIN_9|GPIO_PIN_11|GPIO_PIN_12
                          |GPIO_PIN_13|GPIO_PIN_14|GPIO_PIN_15;
  GPIO_InitStruct.Mode = GPIO_MODE_AF_PP;
  GPIO_InitStruct.Pull = GPIO_NOPULL;
  GPIO_InitStruct.Speed = GPIO_SPEED_FREQ_LOW;
  GPIO_InitStruct.Alternate = GPIO_AF11_LCD;
  HAL_GPIO_Init(GPIOD, &GPIO_InitStruct);

  /*Configure GPIO pins : OTG_FS_PowerSwitchOn_Pin OTG_FS_VBUS_Pin */
  GPIO_InitStruct.Pin = OTG_FS_PowerSwitchOn_Pin|OTG_FS_VBUS_Pin;
  GPIO_InitStruct.Mode = GPIO_MODE_OUTPUT_PP;
  GPIO_InitStruct.Pull = GPIO_NOPULL;
  GPIO_InitStruct.Speed = GPIO_SPEED_FREQ_LOW;
  HAL_GPIO_Init(GPIOC, &GPIO_InitStruct);

  /*Configure GPIO pins : EXT_RST_Pin GYRO_INT1_Pin */
  GPIO_InitStruct.Pin = EXT_RST_Pin|GYRO_INT1_Pin;
  GPIO_InitStruct.Mode = GPIO_MODE_EVT_RISING;
  GPIO_InitStruct.Pull = GPIO_NOPULL;
  HAL_GPIO_Init(GPIOD, &GPIO_InitStruct);

  /*Configure GPIO pin : GYRO_CS_Pin */
  GPIO_InitStruct.Pin = GYRO_CS_Pin;
  GPIO_InitStruct.Mode = GPIO_MODE_OUTPUT_PP;
  GPIO_InitStruct.Pull = GPIO_NOPULL;
  GPIO_InitStruct.Speed = GPIO_SPEED_FREQ_VERY_HIGH;
  HAL_GPIO_Init(GYRO_CS_GPIO_Port, &GPIO_InitStruct);

  /*Configure GPIO pin : M3V3_REG_ON_Pin */
  GPIO_InitStruct.Pin = M3V3_REG_ON_Pin;
  GPIO_InitStruct.Mode = GPIO_MODE_OUTPUT_PP;
  GPIO_InitStruct.Pull = GPIO_NOPULL;
  GPIO_InitStruct.Speed = GPIO_SPEED_FREQ_LOW;
  HAL_GPIO_Init(M3V3_REG_ON_GPIO_Port, &GPIO_InitStruct);

  /*Configure GPIO pin : I2C1_SCL_Pin */
  GPIO_InitStruct.Pin = I2C1_SCL_Pin;
  GPIO_InitStruct.Mode = GPIO_MODE_AF_OD;
  GPIO_InitStruct.Pull = GPIO_PULLUP;
  GPIO_InitStruct.Speed = GPIO_SPEED_FREQ_VERY_HIGH;
  GPIO_InitStruct.Alternate = GPIO_AF4_I2C1;
  HAL_GPIO_Init(I2C1_SCL_GPIO_Port, &GPIO_InitStruct);

  /*Configure GPIO pin : GYRO_INT2_Pin */
  GPIO_InitStruct.Pin = GYRO_INT2_Pin;
  GPIO_InitStruct.Mode = GPIO_MODE_EVT_RISING;
  GPIO_InitStruct.Pull = GPIO_NOPULL;
  HAL_GPIO_Init(GYRO_INT2_GPIO_Port, &GPIO_InitStruct);

  /*Configure GPIO pin : XL_CS_Pin */
  GPIO_InitStruct.Pin = XL_CS_Pin;
  GPIO_InitStruct.Mode = GPIO_MODE_OUTPUT_PP;
  GPIO_InitStruct.Pull = GPIO_NOPULL;
  GPIO_InitStruct.Speed = GPIO_SPEED_FREQ_LOW;
  HAL_GPIO_Init(XL_CS_GPIO_Port, &GPIO_InitStruct);

  /*Configure GPIO pin : XL_INT_Pin */
  GPIO_InitStruct.Pin = XL_INT_Pin;
  GPIO_InitStruct.Mode = GPIO_MODE_EVT_RISING;
  GPIO_InitStruct.Pull = GPIO_NOPULL;
  HAL_GPIO_Init(XL_INT_GPIO_Port, &GPIO_InitStruct);

}

void Error_Handler(void)
{
	__disable_irq();
	while (1) {
	}
}
